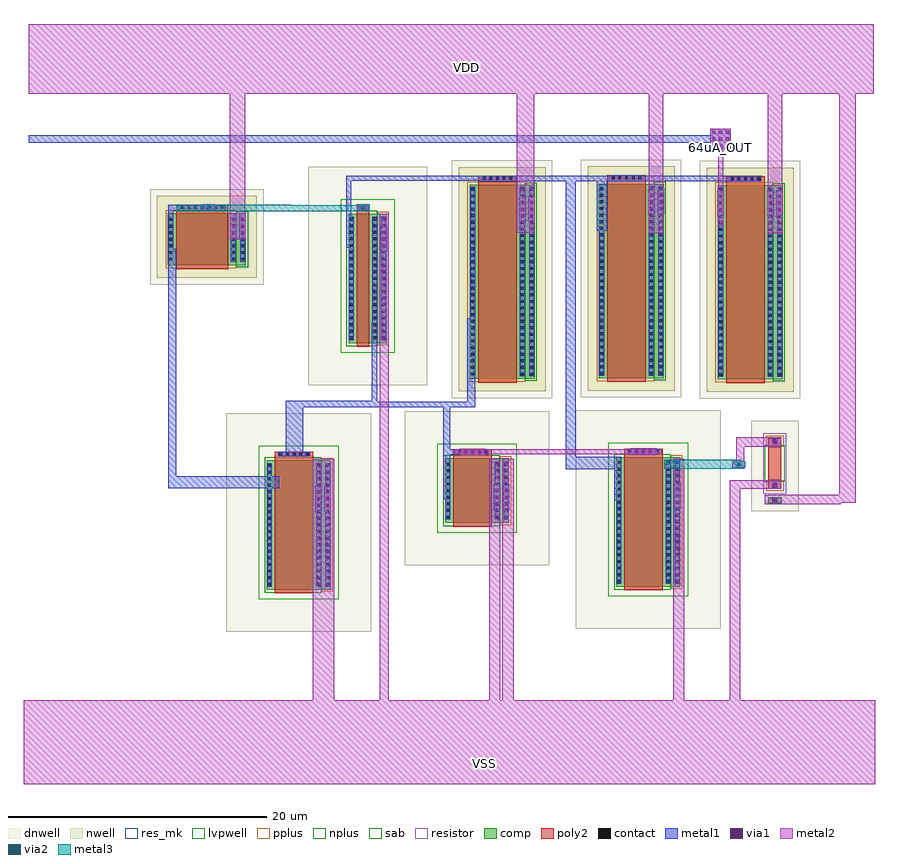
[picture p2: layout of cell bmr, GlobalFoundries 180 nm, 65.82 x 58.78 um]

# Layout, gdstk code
from math import pi, radians
import gdstk
lib = gdstk.Library(unit=1e-6, precision=1e-09)
def R(c, l, rs):  # rectangles x0, y0, x1, y1
    for r in rs: c.add(gdstk.rectangle(r[:2], r[2:], *l))
def A(c, l, x, y, w, h, nx, ny, dx, dy):  # array of equal rectangles
    R(c, l, [(x+i*dx, y+j*dy, x+i*dx+w, y+j*dy+h) for i in range(nx) for j in range(ny)])
dnwell = (12, 0)
nwell = (21, 0)
comp = (22, 0)
poly2 = (30, 0)
pplus = (31, 0)
nplus = (32, 0)
contact = (33, 0)
metal1 = (34, 0)
via1 = (35, 0)
metal2 = (36, 0)
via2 = (38, 0)
metal3 = (42, 0)
sab = (49, 0)
resistor = (62, 0)
res_mk = (110, 5)
lvpwell = (204, 0)

pfet_13 = lib.new_cell('pfet$13')
R(pfet_13, dnwell, [(-1.83,-1.5,5.94,16.88)])
R(pfet_13, nwell, [(-1.32,-0.99,5.43,16.37)])
R(pfet_13, comp, [(-0.46,0,4.57,15)])
R(pfet_13, poly2, [(0.19,-0.3,3.19,15.68)])
R(pfet_13, pplus, [(-0.63,-0.24,3.84,15.24)])
R(pfet_13, nplus, [(3.84,-0.17,4.74,15.17)])
A(pfet_13, contact, -0.34, 0.25, 0.22, 0.22, 1, 29, 0, 0.51)
A(pfet_13, contact, 3.5, 0.25, 0.22, 0.22, 1, 29, 0, 0.51)
A(pfet_13, contact, 4.23, 0.25, 0.22, 0.22, 1, 29, 0, 0.51)
A(pfet_13, contact, 0.56, 15.38, 0.22, 0.22, 5, 1, 0.51, 0)
R(pfet_13, metal1, [(-0.42,0.17,-0.04,14.83), (3.42,0.17,3.8,14.83), (4.15,0.17,4.53,14.83), (0.48,15.3,2.9,15.68)])

nfet_12 = lib.new_cell('nfet$12')
R(nfet_12, dnwell, [(-3.55,-3.26,5.64,13.63)])
R(nfet_12, comp, [(-0.42,0,2.51,10)])
R(nfet_12, poly2, [(0.19,-0.3,1.19,10.66)])
R(nfet_12, pplus, [(1.8,-0.17,2.68,10.17)])
R(nfet_12, nplus, [(-0.59,-0.24,1.8,10.24)])
A(nfet_12, contact, -0.32, 0.3, 0.22, 0.22, 1, 19, 0, 0.51)
A(nfet_12, contact, 1.48, 0.3, 0.22, 0.22, 1, 19, 0, 0.51)
A(nfet_12, contact, 2.19, 0.3, 0.22, 0.22, 1, 19, 0, 0.51)
R(nfet_12, contact, [(0.58,10.37,0.8,10.59)])
R(nfet_12, metal1, [(-0.4,0.22,-0.02,9.78), (1.4,0.22,1.78,9.78), (2.11,0.22,2.49,9.78), (0.5,10.29,0.88,10.67)])
R(nfet_12, lvpwell, [(-1.04,-0.75,3.13,11.12)])

pfet_14 = lib.new_cell('pfet$14')
R(pfet_14, dnwell, [(-1.83,-1.5,6.94,5.88)])
R(pfet_14, nwell, [(-1.32,-0.99,6.43,5.37)])
R(pfet_14, comp, [(-0.46,0,5.57,4)])
R(pfet_14, poly2, [(0.19,-0.3,4.19,4.68)])
R(pfet_14, pplus, [(-0.63,-0.24,4.84,4.24)])
R(pfet_14, nplus, [(4.84,-0.17,5.74,4.17)])
A(pfet_14, contact, -0.34, 0.36, 0.22, 0.22, 1, 7, 0, 0.51)
A(pfet_14, contact, 4.5, 0.36, 0.22, 0.22, 1, 7, 0, 0.51)
A(pfet_14, contact, 5.23, 0.36, 0.22, 0.22, 1, 7, 0, 0.51)
A(pfet_14, contact, 0.55, 4.38, 0.22, 0.22, 7, 1, 0.51, 0)
R(pfet_14, metal1, [(-0.42,0.28,-0.04,3.72), (4.42,0.28,4.8,3.72), (5.15,0.28,5.53,3.72), (0.47,4.3,3.91,4.68)])

nfet_13 = lib.new_cell('nfet$13')
R(nfet_13, dnwell, [(-3.55,-3.26,7.64,13.63)])
R(nfet_13, comp, [(-0.42,0,4.51,10)])
R(nfet_13, poly2, [(0.19,-0.3,3.19,10.66)])
R(nfet_13, pplus, [(3.8,-0.17,4.68,10.17)])
R(nfet_13, nplus, [(-0.59,-0.24,3.8,10.24)])
A(nfet_13, contact, -0.32, 0.3, 0.22, 0.22, 1, 19, 0, 0.51)
A(nfet_13, contact, 3.48, 0.3, 0.22, 0.22, 1, 19, 0, 0.51)
A(nfet_13, contact, 4.19, 0.3, 0.22, 0.22, 1, 19, 0, 0.51)
A(nfet_13, contact, 0.56, 10.37, 0.22, 0.22, 5, 1, 0.51, 0)
R(nfet_13, metal1, [(-0.4,0.22,-0.02,9.78), (3.4,0.22,3.78,9.78), (4.11,0.22,4.49,9.78), (0.48,10.29,2.9,10.67)])
R(nfet_13, lvpwell, [(-1.04,-0.75,5.13,11.12)])

nfet_14 = lib.new_cell('nfet$14')
R(nfet_14, dnwell, [(-3.55,-3.26,7.64,8.63)])
R(nfet_14, comp, [(-0.42,0,4.51,5)])
R(nfet_14, poly2, [(0.19,-0.3,3.19,5.66)])
R(nfet_14, pplus, [(3.8,-0.17,4.68,5.17)])
R(nfet_14, nplus, [(-0.59,-0.24,3.8,5.24)])
A(nfet_14, contact, -0.32, 0.35, 0.22, 0.22, 1, 9, 0, 0.51)
A(nfet_14, contact, 3.48, 0.35, 0.22, 0.22, 1, 9, 0, 0.51)
A(nfet_14, contact, 4.19, 0.35, 0.22, 0.22, 1, 9, 0, 0.51)
A(nfet_14, contact, 0.56, 5.37, 0.22, 0.22, 5, 1, 0.51, 0)
R(nfet_14, metal1, [(-0.4,0.27,-0.02,4.73), (3.4,0.27,3.78,4.73), (4.11,0.27,4.49,4.73), (0.48,5.29,2.9,5.67)])
R(nfet_14, lvpwell, [(-1.04,-0.75,5.13,6.12)])

via_dev_11 = lib.new_cell('via_dev$11')
R(via_dev_11, metal1, [(0,0,0.5,2)])
A(via_dev_11, via1, 0.12, 0.34, 0.26, 0.26, 1, 3, 0, 0.53)
R(via_dev_11, metal2, [(0,0,0.5,2)])

via_dev_12 = lib.new_cell('via_dev$12')
R(via_dev_12, metal1, [(0,0,1,0.5)])
R(via_dev_12, via1, [(0.37,0.12,0.63,0.38)])
R(via_dev_12, metal2, [(0,0,1,0.5)])
R(via_dev_12, via2, [(0.37,0.12,0.63,0.38)])
R(via_dev_12, metal3, [(0,0,1,0.5)])

ppolyf_u_high_rs_resisto = lib.new_cell('ppolyf_u_high_Rs_resistor')
R(ppolyf_u_high_rs_resisto, dnwell, [(-2.38,-1.34,4.59,2.34)])
R(ppolyf_u_high_rs_resisto, comp, [(-1.76,0,-1.34,1)])
R(ppolyf_u_high_rs_resisto, poly2, [(-0.64,0,3.25,1)])
R(ppolyf_u_high_rs_resisto, pplus, [(-0.82,-0.18,0,1.18), (2.61,-0.18,3.43,1.18)])
R(ppolyf_u_high_rs_resisto, nplus, [(-1.78,-0.02,-1.32,1.02)])
R(ppolyf_u_high_rs_resisto, contact, [(-1.66,0.39,-1.44,0.61), (-0.57,0.39,-0.35,0.61), (2.96,0.39,3.18,0.61)])
R(ppolyf_u_high_rs_resisto, metal1, [(-1.74,0.31,-1.36,0.69), (-0.65,0.31,-0.27,0.69), (2.88,0.31,3.26,0.69)])
R(ppolyf_u_high_rs_resisto, sab, [(-0.1,-0.28,2.71,1.28)])
R(ppolyf_u_high_rs_resisto, resistor, [(-1.04,-0.4,3.65,1.4)])
R(ppolyf_u_high_rs_resisto, res_mk, [(0,0,2.61,1)])

via_dev_3 = lib.new_cell('via_dev$3')
R(via_dev_3, metal1, [(0,0,1.6,1.6)])
A(via_dev_3, via1, 0.14, 0.14, 0.26, 0.26, 3, 3, 0.53, 0.53)
R(via_dev_3, metal2, [(0,0,1.6,1.6)])

bmr = lib.new_cell('bmr')
R(bmr, metal1, [(125.56,12.2,126.13,15.56), (112.33,12.28,112.9,19.83), (91.09,13.12,91.7,31.64), (91.09,13.12,99.67,14.04), (121.82,14.6,126.05,15.56), (121.82,14.76,122.6,37.28), (100.16,15.58,101.5,19.88), (112.33,15.73,114.93,16.13), (100.16,19.4,106.83,19.88), (106.58,19.4,113.08,19.83), (106.83,19.4,107.23,25.95), (112.33,19.4,114.81,19.83), (114.22,19.4,114.81,26.27), (104.86,31.71,105.24,37.31), (91.09,33.02,91.47,35.06), (124.21,33.04,125.02,37.28), (91.09,34.56,95.48,35.06), (115.04,36.86,136.93,37.28), (104.86,36.9,116.54,37.31)])
R(bmr, via1, [(137.845,12.035,138.135,12.325), (137.85,13.26,138.13,13.54), (129.6,14.94,129.88,15.22), (137.85,16.54,138.13,16.82)])
R(bmr, metal2, [(79.92,-9.75,145.74,-3.29), (102.27,-7.17,103.15,15.41), (103.05,-7.17,103.93,15.41), (115.89,-7.17,116.77,15.41), (116.9,-7.17,117.78,15.41), (130.12,-7.17,131,15.41), (107.43,-7.16,108.13,34.35), (134.5,-7.11,135.32,13.74), (137.23,11.88,143.09,12.63), (142.4,11.99,144.24,12.52), (142.99,11.99,144.24,46.32), (134.5,13.08,138.49,13.74), (129.44,14.64,129.97,15.34), (134.99,14.64,135.63,17.06), (113.19,15.76,129.24,16.13), (134.99,16.35,138.49,17.06), (95.815,32.38,97.015,46.25), (128.25,32.83,129.36,46.23), (137.45,32.86,138.56,46.23), (118.04,32.89,119.38,46.3), (133.61,33.43,133.99,40.3), (80.3,43.63,145.63,49.03)])
R(bmr, via2, [(129.6,14.94,129.88,15.22)])
R(bmr, metal3, [(129.44,14.64,135.35,15.34), (129.44,14.64,129.99,15.34), (91.7,34.56,100.56,35.06), (100.1,34.56,106.64,35.01)])
bmr.add(gdstk.FlexPath([(133.84,40.13),(80.29,40.13)], 0.6, ends="flush", simple_path=True, layer=34, datatype=0))  # metal1
bmr.add(gdstk.Reference(pfet_13, (134.03,21.56)))
bmr.add(gdstk.Reference(pfet_13, (124.83,21.65)))
bmr.add(gdstk.Reference(pfet_13, (114.85,21.6)))
bmr.add(gdstk.Reference(nfet_12, (105.45,24.35)))
bmr.add(gdstk.Reference(pfet_14, (91.51,30.38)))
bmr.add(gdstk.Reference(nfet_13, (99.12,5.29)))
bmr.add(gdstk.Reference(nfet_14, (112.92,10.44)))
bmr.add(gdstk.Reference(nfet_13, (126.15,5.52)))
bmr.add(gdstk.Reference(via_dev_11, (107.51,31.39)))
bmr.add(gdstk.Reference(via_dev_11, (95.85,32.4)))
bmr.add(gdstk.Reference(via_dev_11, (96.56,32.38)))
bmr.add(gdstk.Reference(via_dev_11, (118.21,33.69)))
bmr.add(gdstk.Reference(via_dev_11, (118.94,33.7)))
bmr.add(gdstk.Reference(via_dev_11, (128.21,34.23)))
bmr.add(gdstk.Reference(via_dev_11, (128.95,34.27)))
bmr.add(gdstk.Reference(via_dev_12, (134.71,14.72)))
bmr.add(gdstk.Reference(via_dev_11, (137.4,34.18)))
bmr.add(gdstk.Reference(via_dev_11, (138.12,34.18)))
bmr.add(gdstk.Reference(via_dev_11, (103.15,11.33)))
bmr.add(gdstk.Reference(via_dev_11, (116.97,11.42)))
bmr.add(gdstk.Reference(via_dev_11, (130.23,11.54)))
bmr.add(gdstk.Reference(via_dev_11, (102.45,11.3)))
bmr.add(gdstk.Reference(via_dev_12, (105.66,34.57)))
bmr.add(gdstk.Reference(via_dev_12, (93.7,34.6)))
bmr.add(gdstk.Reference(via_dev_11, (115.61,15.67), rotation=pi/2))
bmr.add(gdstk.Reference(via_dev_11, (128.83,15.73), rotation=pi/2))
bmr.add(gdstk.Reference(via_dev_11, (116.26,11.42)))
bmr.add(gdstk.Reference(via_dev_11, (133.55,34.18)))
bmr.add(gdstk.Reference(ppolyf_u_high_rs_resisto, (138.49,13.74), rotation=pi/2))
bmr.add(gdstk.Reference(via_dev_3, (133,39.33)))
bmr.add(gdstk.Label('64uA_OUT', (133.78,39.44), layer=36, texttype=10))
bmr.add(gdstk.Label('VDD', (114.16,45.68), layer=36, texttype=10))
bmr.add(gdstk.Label('VSS', (115.54,-8.16), layer=36, texttype=10))

lib.write_gds('bmr.gds')
